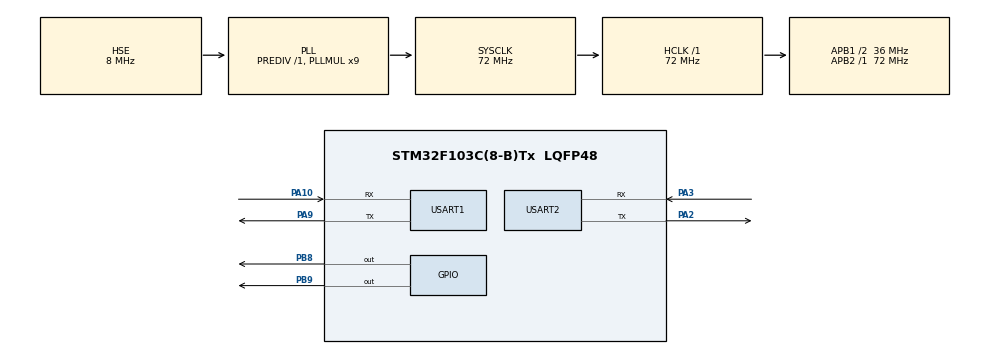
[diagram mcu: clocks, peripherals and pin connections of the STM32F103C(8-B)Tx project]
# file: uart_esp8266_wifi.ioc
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Mcu.Family=STM32F1
Mcu.Name=STM32F103C(8-B)Tx
Mcu.Package=LQFP48
NVIC.PriorityGroup=NVIC_PRIORITYGROUP_4
NVIC.USART1_IRQn=true\:1\:0\:true\:false\:true\:true\:true\:true
PA10.Mode=Asynchronous
PA10.Signal=USART1_RX
PA13.Mode=Serial_Wire
PA13.Signal=SYS_JTMS-SWDIO
PA14.Mode=Serial_Wire
PA14.Signal=SYS_JTCK-SWCLK
PA2.Mode=Asynchronous
PA2.Signal=USART2_TX
PA3.Mode=Asynchronous
PA3.Signal=USART2_RX
PA9.Mode=Asynchronous
PA9.Signal=USART1_TX
PB8.PinState=GPIO_PIN_SET
PB8.Signal=GPIO_Output
PB9.PinState=GPIO_PIN_SET
PB9.Signal=GPIO_Output
PD0-OSC_IN.Mode=HSE-External-Oscillator
PD0-OSC_IN.Signal=RCC_OSC_IN
PD1-OSC_OUT.Mode=HSE-External-Oscillator
PD1-OSC_OUT.Signal=RCC_OSC_OUT
ProjectManager.HeapSize=0x200
ProjectManager.StackSize=0x400
ProjectManager.TargetToolchain=MDK-ARM V5.32
RCC.AHBFreq_Value=72000000
RCC.APB1CLKDivider=RCC_HCLK_DIV2
RCC.APB1Freq_Value=36000000
RCC.APB1TimFreq_Value=72000000
RCC.APB2Freq_Value=72000000
RCC.APB2TimFreq_Value=72000000
RCC.HCLKFreq_Value=72000000
RCC.PLLMUL=RCC_PLL_MUL9
RCC.PLLSourceVirtual=RCC_PLLSOURCE_HSE
RCC.SYSCLKFreq_VALUE=72000000
RCC.SYSCLKSource=RCC_SYSCLKSOURCE_PLLCLK
RCC.USBFreq_Value=72000000
USART1.VirtualMode=VM_ASYNC
USART2.VirtualMode=VM_ASYNC
board=custom

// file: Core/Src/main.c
/* USER CODE BEGIN Header */
/**
  ******************************************************************************
  * @file           : main.c
  * @brief          : Main program body
  ******************************************************************************
  * @attention
  *
  * Copyright (c) 2023 STMicroelectronics.
  * All rights reserved.
  *
  * This software is licensed under terms that can be found in the LICENSE file
  * in the root directory of this software component.
  * If no LICENSE file comes with this software, it is provided AS-IS.
  *
  ******************************************************************************
  */
/* USER CODE END Header */
#include "main.h"
#include "usart.h"
#include "gpio.h"

/* USER CODE BEGIN Includes */
#include <string.h>
#include <stdio.h>
/* USER CODE END Includes */

/* USER CODE BEGIN PM */
//定义最大接收字节数 200，可根据需求调整
#define UART1_REC_LEN 200
/* USER CODE END PM */

/* USER CODE BEGIN PV */
uint16_t UART1_RX_STA=0;
uint8_t buf=0;
// 接收缓冲, 串口接收到的数据放在这个数组里，最大UART1_REC_LEN个字节
uint8_t UART1_RX_Buffer[UART1_REC_LEN];

char LJWL[]  = "AT+CWJAP=\"tsc000\",\"010203123\"\r\n";
char LJFWQ[] = "AT+CIPSTART=\"TCP\",\"192.168.0.104\",8881\r\n";

char TCMS[]  = "AT+CIPMODE=1\r\n";
char SJCS[]  = "AT+CIPSEND\r\n";
char RESTART[] = "AT+RST\r\n";

int AT_OK_Flag = 0;
int AT_Connect_OK_Flag = 0;
int AT_FAILED = 0;

/* USER CODE END PV */

void SystemClock_Config(void);
/* USER CODE BEGIN PFP */

// 接收中断
void HAL_UART_RxCpltCallback(UART_HandleTypeDef *huart) {
	if(huart->Instance != USART1) {
		return;
	}
	// 数据接收完成
	if((UART1_RX_STA & 0x8000) != 0) {
		HAL_UART_Receive_IT(&huart1, &buf, 1);
		return;
	}
	// 接收到回车之后判断后续的是不是换行，如果是换行，数据接收完成，但是还要开启一下中断
	if(UART1_RX_STA&0x4000) {
		if(buf == 0x0a) {
			UART1_RX_STA = UART1_RX_STA| 0x8000;
		// 查看是否收到 WIFI GOT IP
			if(!strcmp((const char *)UART1_RX_Buffer, "WIFI GOT IP")) {
				HAL_UART_Transmit(&huart2, "WIFI GOT IP\r\n", strlen("WIFI GOT IP\r\n"), 100);
				AT_Connect_OK_Flag = 1;
			}

			// 查看是否收到 OK
			if(!strcmp((const char *)UART1_RX_Buffer, "OK")) {
				HAL_UART_Transmit(&huart2, "OK\r\n", strlen("OK\r\n"), 100);
				HAL_GPIO_TogglePin(GPIOB, GPIO_PIN_8);
				AT_OK_Flag = 1;
			}

			// 查看是否收到 FAIL
				if(!strcmp(UART1_RX_Buffer, "FAIL"))
				{
					int i = 0;
					for (i = 0; i < 5; i++)
					{
						HAL_GPIO_TogglePin(GPIOB, GPIO_PIN_8);
						HAL_Delay(1000);
					}
					printf(RESTART);
				}

				// 灯控指令
				if(!strcmp(UART1_RX_Buffer, "L-1"))
					HAL_GPIO_WritePin(GPIOB, GPIO_PIN_8, GPIO_PIN_RESET);

				if(!strcmp(UART1_RX_Buffer, "L-0"))
					HAL_GPIO_WritePin(GPIOB, GPIO_PIN_8, GPIO_PIN_SET);

			memset(UART1_RX_Buffer, 0, UART1_REC_LEN);
			UART1_RX_STA = 0;

		} else {
			UART1_RX_STA = 0;
		}
	} else {
		// 接收到回车，将高第二位置1，否则继续接收数据
		if(buf == 0x0d) {
			UART1_RX_STA |= 0x4000;
		} else {
			UART1_RX_Buffer[UART1_RX_STA&0x3fff] = buf;
			UART1_RX_STA ++;
			if(UART1_RX_STA > UART1_REC_LEN - 1) {
				UART1_RX_STA = 0;
			}
		}
	}
	HAL_UART_Receive_IT(&huart1, &buf, 1);
}

void connectWifi() {

	printf(LJWL);
	//while(!AT_Connect_OK_Flag);
	while(!AT_OK_Flag);
	//HAL_UART_Transmit(&huart2, "连接网络成功\r\n", strlen("连接网络成功\r\n"), 100);
	//HAL_Delay(50);
	AT_OK_Flag = 0;
	HAL_UART_Transmit(&huart2, "连接网络成功\r\n", strlen("连接网络成功\r\n"), 100);
		//发送连服务器指令并等待成功
	printf(LJFWQ);
	while(!AT_OK_Flag) HAL_Delay(50);
	AT_OK_Flag = 0;
	HAL_UART_Transmit(&huart2, "连接服务器成功\r\n", strlen("连接服务器成功\r\n"), 100);
	//发送透传模式指令并等待成功
	printf(TCMS);
	while(!AT_OK_Flag) HAL_Delay(50);
	AT_OK_Flag = 0;
	HAL_UART_Transmit(&huart2, "设置透传成功\r\n", strlen("设置透传成功\r\n"), 100);
	//发送透传模式指令并等待成功
	//发送数据传输指令并等待成功
	printf(SJCS);
	while(!AT_OK_Flag) HAL_Delay(50);

}

/* USER CODE END PV */

/* Private function prototypes -----------------------------------------------*/
void SystemClock_Config(void);
/* USER CODE BEGIN PFP */

/* USER CODE END PFP */

/* USER CODE BEGIN 0 */
int fputc(int ch, FILE *file) {
	unsigned char temp[1] = {ch};
	HAL_UART_Transmit(&huart1, temp, 1, 0xfff);
	return ch;
}
/* USER CODE END 0 */

int main(void)
{

  /* MCU Configuration--------------------------------------------------------*/

  /* Reset of all peripherals, Initializes the Flash interface and the Systick. */
  HAL_Init();

  /* Configure the system clock */
  SystemClock_Config();

  /* Initialize all configured peripherals */
  MX_GPIO_Init();
  MX_USART1_UART_Init();
  MX_USART2_UART_Init();
  /* USER CODE BEGIN 2 */
	HAL_UART_Receive_IT(&huart1, &buf, 1);
	HAL_UART_Transmit(&huart2, "let's go\r\n", strlen("let's go\r\n"), 100);

	printf(LJWL);
	//while(!AT_Connect_OK_Flag);
	while(!AT_OK_Flag);
	//HAL_UART_Transmit(&huart2, "连接网络成功\r\n", strlen("连接网络成功\r\n"), 100);
	//HAL_Delay(50);
	AT_OK_Flag = 0;
	HAL_UART_Transmit(&huart2, "连接网络成功\r\n", strlen("连接网络成功\r\n"), 100);
		//发送连服务器指令并等待成功
	printf(LJFWQ);
	while(!AT_OK_Flag) HAL_Delay(50);
	AT_OK_Flag = 0;
	HAL_UART_Transmit(&huart2, "连接服务器成功\r\n", strlen("连接服务器成功\r\n"), 100);
	//发送透传模式指令并等待成功
	printf(TCMS);
	while(!AT_OK_Flag) HAL_Delay(50);
	AT_OK_Flag = 0;
	HAL_UART_Transmit(&huart2, "设置透传成功\r\n", strlen("设置透传成功\r\n"), 100);
	//发送透传模式指令并等待成功
	//发送数据传输指令并等待成功
	printf(SJCS);
	while(!AT_OK_Flag) HAL_Delay(50);

  /* USER CODE END 2 */

  /* Infinite loop */
  while (1)
  {

    /* USER CODE BEGIN 3 */
		//printf("heart beat\r\n");
		HAL_UART_Transmit(&huart2, "heart beat\r\n", strlen("heart beat\r\n"), 100);
		HAL_Delay(3000);
  }
  /* USER CODE END 3 */
}

void SystemClock_Config(void)
{
  RCC_OscInitTypeDef RCC_OscInitStruct = {0};
  RCC_ClkInitTypeDef RCC_ClkInitStruct = {0};

  /** Initializes the RCC Oscillators according to the specified parameters
  * in the RCC_OscInitTypeDef structure.
  */
  RCC_OscInitStruct.OscillatorType = RCC_OSCILLATORTYPE_HSE;
  RCC_OscInitStruct.HSEState = RCC_HSE_ON;
  RCC_OscInitStruct.HSEPredivValue = RCC_HSE_PREDIV_DIV1;
  RCC_OscInitStruct.HSIState = RCC_HSI_ON;
  RCC_OscInitStruct.PLL.PLLState = RCC_PLL_ON;
  RCC_OscInitStruct.PLL.PLLSource = RCC_PLLSOURCE_HSE;
  RCC_OscInitStruct.PLL.PLLMUL = RCC_PLL_MUL9;
  if (HAL_RCC_OscConfig(&RCC_OscInitStruct) != HAL_OK)
  {
    Error_Handler();
  }

  /** Initializes the CPU, AHB and APB buses clocks
  */
  RCC_ClkInitStruct.ClockType = RCC_CLOCKTYPE_HCLK|RCC_CLOCKTYPE_SYSCLK
                              |RCC_CLOCKTYPE_PCLK1|RCC_CLOCKTYPE_PCLK2;
  RCC_ClkInitStruct.SYSCLKSource = RCC_SYSCLKSOURCE_PLLCLK;
  RCC_ClkInitStruct.AHBCLKDivider = RCC_SYSCLK_DIV1;
  RCC_ClkInitStruct.APB1CLKDivider = RCC_HCLK_DIV2;
  RCC_ClkInitStruct.APB2CLKDivider = RCC_HCLK_DIV1;

  if (HAL_RCC_ClockConfig(&RCC_ClkInitStruct, FLASH_LATENCY_2) != HAL_OK)
  {
    Error_Handler();
  }
}

void Error_Handler(void)
{
  __disable_irq();
  while (1)
  {
  }
}
